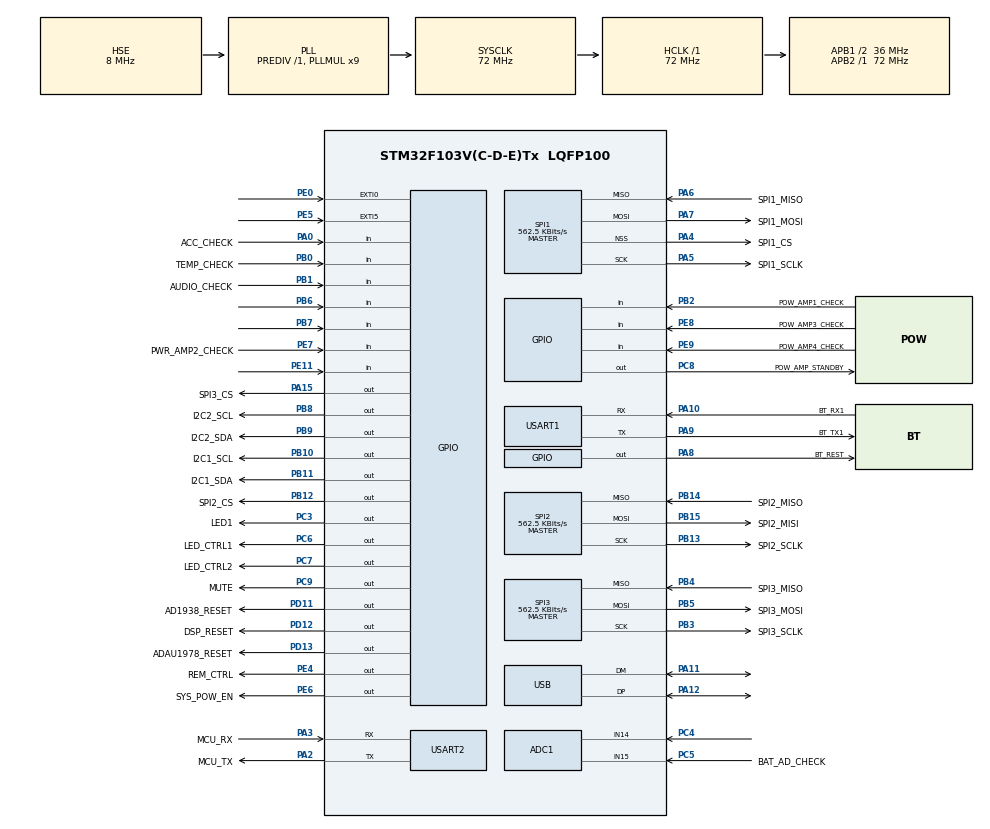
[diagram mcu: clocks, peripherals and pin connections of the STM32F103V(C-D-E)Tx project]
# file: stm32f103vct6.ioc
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ADC1.Channel-2\#ChannelRegularConversion=ADC_CHANNEL_14
ADC1.Channel-5\#ChannelRegularConversion=ADC_CHANNEL_15
ADC1.ContinuousConvMode=ENABLE
ADC1.DataAlign=ADC_DATAALIGN_RIGHT
ADC1.DiscontinuousConvMode=DISABLE
ADC1.EnableInjectedConversion=DISABLE
ADC1.EnableRegularConversion=ENABLE
ADC1.InjNumberOfConversion=2
ADC1.NbrOfConversion=2
ADC1.NbrOfConversionFlag=1
ADC1.Rank-2\#ChannelRegularConversion=1
ADC1.Rank-5\#ChannelRegularConversion=2
ADC1.SamplingTime-2\#ChannelRegularConversion=ADC_SAMPLETIME_55CYCLES_5
ADC1.SamplingTime-5\#ChannelRegularConversion=ADC_SAMPLETIME_55CYCLES_5
ADC1.master=1
Dma.ADC1.0.Direction=DMA_PERIPH_TO_MEMORY
Dma.ADC1.0.Instance=DMA1_Channel1
Dma.ADC1.0.MemDataAlignment=DMA_MDATAALIGN_WORD
Dma.ADC1.0.MemInc=DMA_MINC_ENABLE
Dma.ADC1.0.Mode=DMA_CIRCULAR
Dma.ADC1.0.PeriphDataAlignment=DMA_PDATAALIGN_WORD
Dma.ADC1.0.PeriphInc=DMA_PINC_DISABLE
Dma.ADC1.0.Priority=DMA_PRIORITY_LOW
Dma.Request0=ADC1
FREERTOS.BinarySemaphores01=myBinarySem01,Dynamic,NULL
FREERTOS.Mutexes01=myMutex01,Dynamic,NULL;myMutex02,Dynamic,NULL;myMutex03,Dynamic,NULL;myMutex04,Dynamic,NULL
FREERTOS.Queues01=myQueue01,16,uint16_t,0,Dynamic,NULL,NULL
FREERTOS.Tasks01=defaultTask,24,256,StartDefaultTask,Default,NULL,Dynamic,NULL,NULL;myTask03,26,512,StartTask03,Default,NULL,Dynamic,NULL,NULL;myPrintfTask,24,1024,PrintfTask,Default,NULL,Dynamic,NULL,NULL;myTask_4ms_Pro,24,256,StartTask_4ms_Pro,Default,NULL,Dynamic,NULL,NULL;myTask_8ms_Pro,25,512,StartTask_8ms_Pro,Default,NULL,Dynamic,NULL,NULL;myTask_16ms_Pro,24,512,StartTask_16ms_Pro,Default,NULL,Dynamic,NULL,NULL;myTask_100ms_Pr,27,512,StartTask_100ms_Pro,Default,NULL,Dynamic,NULL,NULL
FREERTOS.configGENERATE_RUN_TIME_STATS=1
FREERTOS.configTOTAL_HEAP_SIZE=17344
FREERTOS.configUSE_STATS_FORMATTING_FUNCTIONS=1
FREERTOS.configUSE_TRACE_FACILITY=1
Mcu.Family=STM32F1
Mcu.Name=STM32F103V(C-D-E)Tx
Mcu.Package=LQFP100
NVIC.ADC1_2_IRQn=true\:5\:0\:true\:false\:true\:true\:true\:true
NVIC.DMA1_Channel1_IRQn=true\:5\:0\:true\:false\:true\:true\:false\:true
NVIC.EXTI9_5_IRQn=true\:5\:0\:true\:false\:true\:true\:true\:true
NVIC.PriorityGroup=NVIC_PRIORITYGROUP_4
NVIC.TIM1_UP_IRQn=true\:0\:0\:false\:false\:true\:false\:false\:true
NVIC.TIM5_IRQn=true\:5\:0\:true\:false\:true\:true\:true\:true
NVIC.TimeBase=TIM1_UP_IRQn
NVIC.TimeBaseIP=TIM1
NVIC.USART1_IRQn=true\:6\:0\:true\:false\:true\:false\:true\:true
NVIC.USART2_IRQn=true\:5\:0\:true\:false\:true\:true\:true\:true
NVIC.USB_HP_CAN1_TX_IRQn=true\:5\:0\:true\:false\:true\:true\:true\:true
NVIC.USB_LP_CAN1_RX0_IRQn=true\:5\:0\:true\:false\:true\:true\:false\:true
OSC_IN.Mode=HSE-External-Oscillator
OSC_IN.Signal=RCC_OSC_IN
OSC_OUT.Mode=HSE-External-Oscillator
OSC_OUT.Signal=RCC_OSC_OUT
PA0-WKUP.GPIO_Label=ACC_CHECK
PA0-WKUP.Signal=GPIO_Input
PA10.GPIO_Label=BT_RX1
PA10.Mode=Asynchronous
PA10.Signal=USART1_RX
PA11.Mode=Device
PA11.Signal=USB_DM
PA12.Mode=Device
PA12.Signal=USB_DP
PA13.Mode=Serial_Wire
PA13.Signal=SYS_JTMS-SWDIO
PA14.Mode=Serial_Wire
PA14.Signal=SYS_JTCK-SWCLK
PA15.GPIO_Label=SPI3_CS
PA15.GPIO_ModeDefaultOutputPP=GPIO_MODE_OUTPUT_PP
PA15.GPIO_PuPd=GPIO_PULLUP
PA15.GPIO_Speed=GPIO_SPEED_FREQ_HIGH
PA15.PinState=GPIO_PIN_SET
PA15.Signal=GPIO_Output
PA2.GPIO_Label=MCU_TX
PA2.Mode=Asynchronous
PA2.Signal=USART2_TX
PA3.GPIO_Label=MCU_RX
PA3.Mode=Asynchronous
PA3.Signal=USART2_RX
PA4.GPIO_Label=SPI1_CS
PA4.Mode=NSS_Signal_Hard_Output
PA4.Signal=SPI1_NSS
PA5.GPIO_Label=SPI1_SCLK
PA5.Mode=Full_Duplex_Master
PA5.Signal=SPI1_SCK
PA6.GPIO_Label=SPI1_MISO
PA6.Mode=Full_Duplex_Master
PA6.Signal=SPI1_MISO
PA7.GPIO_Label=SPI1_MOSI
PA7.Mode=Full_Duplex_Master
PA7.Signal=SPI1_MOSI
PA8.GPIO_Label=BT_REST
PA8.GPIO_PuPd=GPIO_PULLUP
PA8.PinState=GPIO_PIN_RESET
PA8.Signal=GPIO_Output
PA9.GPIO_Label=BT_TX1
PA9.Mode=Asynchronous
PA9.Signal=USART1_TX
PB0.GPIO_Label=TEMP_CHECK
PB0.Signal=GPIO_Input
PB1.GPIO_Label=AUDIO_CHECK
PB1.Signal=GPIO_Input
PB10.GPIO_Label=I2C1_SCL
PB10.GPIO_PuPd=GPIO_PULLUP
PB10.GPIO_Speed=GPIO_SPEED_FREQ_HIGH
PB10.PinState=GPIO_PIN_SET
PB10.Signal=GPIO_Output
PB11.GPIO_Label=I2C1_SDA
PB11.GPIO_PuPd=GPIO_PULLUP
PB11.GPIO_Speed=GPIO_SPEED_FREQ_HIGH
PB11.PinState=GPIO_PIN_SET
PB11.Signal=GPIO_Output
PB12.GPIO_Label=SPI2_CS
PB12.GPIO_PuPd=GPIO_PULLUP
PB12.GPIO_Speed=GPIO_SPEED_FREQ_HIGH
PB12.PinState=GPIO_PIN_SET
PB12.Signal=GPIO_Output
PB13.GPIO_Label=SPI2_SCLK
PB13.Mode=Full_Duplex_Master
PB13.Signal=SPI2_SCK
PB14.GPIO_Label=SPI2_MISO
PB14.Mode=Full_Duplex_Master
PB14.Signal=SPI2_MISO
PB15.GPIO_Label=SPI2_MISI
PB15.Mode=Full_Duplex_Master
PB15.Signal=SPI2_MOSI
PB2.GPIO_Label=POW_AMP1_CHECK
PB2.Signal=GPIO_Input
PB3.GPIO_Label=SPI3_SCLK
PB3.Mode=Full_Duplex_Master
PB3.Signal=SPI3_SCK
PB4.GPIO_Label=SPI3_MISO
PB4.Mode=Full_Duplex_Master
PB4.Signal=SPI3_MISO
PB5.GPIO_Label=SPI3_MOSI
PB5.Mode=Full_Duplex_Master
PB5.Signal=SPI3_MOSI
PB6.Signal=GPIO_Input
PB7.Signal=GPIO_Input
PB8.GPIO_Label=I2C2_SCL
PB8.GPIO_PuPd=GPIO_PULLUP
PB8.GPIO_Speed=GPIO_SPEED_FREQ_HIGH
PB8.PinState=GPIO_PIN_SET
PB8.Signal=GPIO_Output
PB9.GPIO_Label=I2C2_SDA
PB9.GPIO_PuPd=GPIO_PULLUP
PB9.GPIO_Speed=GPIO_SPEED_FREQ_HIGH
PB9.PinState=GPIO_PIN_SET
PB9.Signal=GPIO_Output
PC14-OSC32_IN.Mode=LSE-External-Oscillator
PC14-OSC32_IN.Signal=RCC_OSC32_IN
PC15-OSC32_OUT.Mode=LSE-External-Oscillator
PC15-OSC32_OUT.Signal=RCC_OSC32_OUT
PC3.GPIO_Label=LED1
PC3.GPIO_ModeDefaultOutputPP=GPIO_MODE_OUTPUT_PP
PC3.GPIO_PuPd=GPIO_PULLUP
PC3.GPIO_Speed=GPIO_SPEED_FREQ_HIGH
PC3.Signal=GPIO_Output
PC4.Signal=ADCx_IN14
PC5.GPIO_Label=BAT_AD_CHECK
PC5.Signal=ADCx_IN15
PC6.GPIO_Label=LED_CTRL1
PC6.GPIO_PuPd=GPIO_PULLUP
PC6.PinState=GPIO_PIN_RESET
PC6.Signal=GPIO_Output
PC7.GPIO_Label=LED_CTRL2
PC7.GPIO_PuPd=GPIO_PULLUP
PC7.PinState=GPIO_PIN_RESET
PC7.Signal=GPIO_Output
PC8.GPIO_Label=POW_AMP_STANDBY
PC8.GPIO_PuPd=GPIO_PULLUP
PC8.PinState=GPIO_PIN_RESET
PC8.Signal=GPIO_Output
PC9.GPIO_Label=MUTE
PC9.Signal=GPIO_Output
PD11.GPIO_Label=AD1938_RESET
PD11.PinState=GPIO_PIN_RESET
PD11.Signal=GPIO_Output
PD12.GPIO_Label=DSP_RESET
PD12.GPIO_PuPd=GPIO_PULLUP
PD12.PinState=GPIO_PIN_RESET
PD12.Signal=GPIO_Output
PD13.GPIO_Label=ADAU1978_RESET
PD13.PinState=GPIO_PIN_RESET
PD13.Signal=GPIO_Output
PD8.GPIO_Label=USB_TX
PD8.Signal=USART3_TX
PD9.GPIO_Label=USB_RX
PD9.Signal=USART3_RX
PE0.GPIO_ModeDefaultEXTI=GPIO_MODE_IT_FALLING
PE0.Signal=GPXTI0
PE11.Signal=GPIO_Input
PE4.GPIO_Label=REM_CTRL
PE4.Signal=GPIO_Output
PE5.GPIO_ModeDefaultEXTI=GPIO_MODE_IT_FALLING
PE5.Signal=GPXTI5
PE6.GPIO_Label=SYS_POW_EN
PE6.GPIO_PuPd=GPIO_PULLUP
PE6.GPIO_Speed=GPIO_SPEED_FREQ_MEDIUM
PE6.PinState=GPIO_PIN_RESET
PE6.Signal=GPIO_Output
PE7.GPIO_Label=PWR_AMP2_CHECK
PE7.Signal=GPIO_Input
PE8.GPIO_Label=POW_AMP3_CHECK
PE8.Signal=GPIO_Input
PE9.GPIO_Label=POW_AMP4_CHECK
PE9.Signal=GPIO_Input
ProjectManager.HeapSize=0x200
ProjectManager.StackSize=0x400
ProjectManager.TargetToolchain=MDK-ARM V5
RCC.ADCPresc=RCC_ADCPCLK2_DIV6
RCC.AHBFreq_Value=72000000
RCC.APB1CLKDivider=RCC_HCLK_DIV2
RCC.APB1Freq_Value=36000000
RCC.APB1TimFreq_Value=72000000
RCC.APB2Freq_Value=72000000
RCC.APB2TimFreq_Value=72000000
RCC.HCLKFreq_Value=72000000
RCC.PLLMUL=RCC_PLL_MUL9
RCC.PLLSourceVirtual=RCC_PLLSOURCE_HSE
RCC.SYSCLKFreq_VALUE=72000000
RCC.SYSCLKSource=RCC_SYSCLKSOURCE_PLLCLK
RCC.USBFreq_Value=48000000
RCC.USBPrescaler=RCC_USBCLKSOURCE_PLL_DIV1_5
SH.ADCx_IN14.0=ADC1_IN14,IN14
SH.ADCx_IN15.0=ADC1_IN15,IN15
SPI1.BaudRatePrescaler=SPI_BAUDRATEPRESCALER_128
SPI1.CLKPhase=SPI_PHASE_2EDGE
SPI1.CLKPolarity=SPI_POLARITY_HIGH
SPI1.CRCCalculation=SPI_CRCCALCULATION_DISABLE
SPI1.CalculateBaudRate=562.5 KBits/s
SPI1.DataSize=SPI_DATASIZE_8BIT
SPI1.Direction=SPI_DIRECTION_2LINES
SPI1.Mode=SPI_MODE_MASTER
SPI1.VirtualNSS=VM_NSSHARD
SPI1.VirtualType=VM_MASTER
SPI2.BaudRatePrescaler=SPI_BAUDRATEPRESCALER_64
SPI2.CalculateBaudRate=562.5 KBits/s
SPI2.Direction=SPI_DIRECTION_2LINES
SPI2.Mode=SPI_MODE_MASTER
SPI2.VirtualType=VM_MASTER
SPI3.BaudRatePrescaler=SPI_BAUDRATEPRESCALER_64
SPI3.CalculateBaudRate=562.5 KBits/s
SPI3.Direction=SPI_DIRECTION_2LINES
SPI3.Mode=SPI_MODE_MASTER
SPI3.VirtualType=VM_MASTER
TIM5.Period=0xe00
USART1.VirtualMode=VM_ASYNC
USART2.VirtualMode=VM_ASYNC
USB.low_power_enable=DISABLE
USB.lpm_enable=DISABLE
USB_DEVICE.CLASS_NAME_FS=CUSTOM_HID
USB_DEVICE.CUSTOM_HID_FS_BINTERVAL=0x20
USB_DEVICE.PID_CUSTOMHID_FS=0x5750
USB_DEVICE.USBD_CUSTOMHID_OUTREPORT_BUF_SIZE=0x20
USB_DEVICE.USBD_CUSTOM_HID_REPORT_DESC_SIZE=0x22
USB_DEVICE.USBD_MAX_NUM_INTERFACES=0x40
USB_DEVICE.VID=0x483
USB_DEVICE.VirtualMode=CustomHid
USB_DEVICE.VirtualModeFS=Custom_Hid_FS
VP_FREERTOS_VS_CMSIS_V2.Mode=CMSIS_V2
VP_RTC_No_RTC_Output.Mode=RTC_OUT_NO
VP_RTC_VS_RTC_Activate.Mode=RTC_Enabled
VP_RTC_VS_RTC_Calendar.Mode=RTC_Calendar
VP_SYS_VS_tim1.Mode=TIM1
VP_TIM5_VS_ClockSourceINT.Mode=Internal
VP_USB_DEVICE_VS_USB_DEVICE_CUSTOM_HID_FS.Mode=CUSTOM_HID_FS
board=custom

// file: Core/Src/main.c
/* USER CODE BEGIN Header */
/**
  ******************************************************************************
  * @file           : main.c
  * @brief          : Main program body
  ******************************************************************************
  * @attention
  *
  * <h2><center>&copy; Copyright (c) 2020 STMicroelectronics.
  * All rights reserved.</center></h2>
  *
  * This software component is licensed by ST under BSD 3-Clause license,
  * the "License"; You may not use this file except in compliance with the
  * License. You may obtain a copy of the License at:
  *                        opensource.org/licenses/BSD-3-Clause
  *
  ******************************************************************************
  */
/* USER CODE END Header */
#include "main.h"
#include "cmsis_os.h"
#include "adc.h"
#include "dma.h"
#include "rtc.h"
#include "spi.h"
#include "tim.h"
#include "usart.h"
#include "usb_device.h"
#include "gpio.h"

/* USER CODE BEGIN Includes */
#include "include.h"
#include "FreeRTOS.h"
#include "task.h"
/* USER CODE END Includes */

void SystemClock_Config(void);
void MX_FREERTOS_Init(void);

/* USER CODE BEGIN 0 */
unsigned char USB_Rx_Buf[USBD_CUSTOMHID_OUTREPORT_BUF_SIZE]; //USB接收缓存

unsigned char USB_Received_Count = 0;//USB接收数据计数
unsigned int AD_DMA[2];
uint8_t rUARTDataBuffer[1];

void SysHardware_Init(void)
{
	//Bsp_Clock_Init();
	//Bsp_SysTick_Init();
	//Bsp_GPIO_Init();
	//Bsp_WDOG_Init();
	//Bsp_UART_Init();
	//Bsp_SPI_Init();
	//Bsp_ADC_Init();
	//Bsp_FLASH_Init();
	//Print_Init();
}
void SysSoftware_Init(void)
{
	SysDataInit();
	DspInit();
	Check_Uart();
}

/* USER CODE END 0 */

int main(void)
{

  /* MCU Configuration--------------------------------------------------------*/

  /* Reset of all peripherals, Initializes the Flash interface and the Systick. */
  HAL_Init();

  /* USER CODE BEGIN Init */
  //SysHardware_Init();
  SysSoftware_Init();

  /* USER CODE END Init */

  /* Configure the system clock */
  SystemClock_Config();

  /* Initialize all configured peripherals */
  MX_GPIO_Init();
  MX_SPI1_Init();
  MX_SPI2_Init();
  MX_SPI3_Init();
  MX_USART1_UART_Init();
  MX_TIM5_Init();
  MX_ADC1_Init();
  MX_USART2_UART_Init();
  MX_RTC_Init();
  /* USER CODE BEGIN 2 */
  HAL_ADCEx_Calibration_Start(&hadc1);
  HAL_ADC_Start_DMA(&hadc1, (uint32_t*)&AD_DMA,2); //启用DMA的ADC转换，AD_DMA 0~3 对应ADC 0~3，这里注意最后一个参数的大小

  HAL_TIM_Base_Start_IT(&htim5);
  HAL_GPIO_WritePin(GPIOA,GPIO_PIN_4,GPIO_PIN_SET);

	//上面的usart配置代码为cubemx自动生成的，在下方添加使能idle中断和打开串口DMA接收语句
  //__HAL_UART_ENABLE_IT(&huart2, UART_IT_IDLE);//使能idle中断
  //HAL_UART_Receive_DMA(&huart2,rx_buffer,BUFFER_SIZE);//打开DMA接收，数据存入rx_buffer数组中。
	while(HAL_UART_Receive_IT(&huart1, rUARTDataBuffer, 1) != HAL_OK);

  /*##-1- Configure Alarm ####################################################*/
  /* Configure RTC Alarm */
  Set_RtcWorkStatus;
  SysWakeUp_SetAlarm(10);

  printf("APP Begin -- Software Version : %s \n", MCU_VERSION);
  printf("Code generation time : %s %s \n", __DATE__, __TIME__);
  //SPI_FLASH_ReadDeviceID();

  /* USER CODE END 2 */

  /* Init scheduler */
  osKernelInitialize();  /* Call init function for freertos objects (in freertos.c) */
  MX_FREERTOS_Init();
  /* Start scheduler */
  osKernelStart();

  /* We should never get here as control is now taken by the scheduler */
  /* Infinite loop */
  while (1)
  {

  }
}

void SystemClock_Config(void)
{
  RCC_OscInitTypeDef RCC_OscInitStruct = {0};
  RCC_ClkInitTypeDef RCC_ClkInitStruct = {0};
  RCC_PeriphCLKInitTypeDef PeriphClkInit = {0};

  /** Initializes the RCC Oscillators according to the specified parameters
  * in the RCC_OscInitTypeDef structure.
  */
  RCC_OscInitStruct.OscillatorType = RCC_OSCILLATORTYPE_LSI|RCC_OSCILLATORTYPE_HSE;
  RCC_OscInitStruct.HSEState = RCC_HSE_ON;
  RCC_OscInitStruct.HSEPredivValue = RCC_HSE_PREDIV_DIV1;
  RCC_OscInitStruct.HSIState = RCC_HSI_ON;
  RCC_OscInitStruct.LSIState = RCC_LSI_ON;
  RCC_OscInitStruct.PLL.PLLState = RCC_PLL_ON;
  RCC_OscInitStruct.PLL.PLLSource = RCC_PLLSOURCE_HSE;
  RCC_OscInitStruct.PLL.PLLMUL = RCC_PLL_MUL9;
  if (HAL_RCC_OscConfig(&RCC_OscInitStruct) != HAL_OK)
  {
    Error_Handler();
  }
  /** Initializes the CPU, AHB and APB buses clocks
  */
  RCC_ClkInitStruct.ClockType = RCC_CLOCKTYPE_HCLK|RCC_CLOCKTYPE_SYSCLK
                              |RCC_CLOCKTYPE_PCLK1|RCC_CLOCKTYPE_PCLK2;
  RCC_ClkInitStruct.SYSCLKSource = RCC_SYSCLKSOURCE_PLLCLK;
  RCC_ClkInitStruct.AHBCLKDivider = RCC_SYSCLK_DIV1;
  RCC_ClkInitStruct.APB1CLKDivider = RCC_HCLK_DIV2;
  RCC_ClkInitStruct.APB2CLKDivider = RCC_HCLK_DIV1;

  if (HAL_RCC_ClockConfig(&RCC_ClkInitStruct, FLASH_LATENCY_2) != HAL_OK)
  {
    Error_Handler();
  }
  PeriphClkInit.PeriphClockSelection = RCC_PERIPHCLK_RTC|RCC_PERIPHCLK_ADC
                              |RCC_PERIPHCLK_USB;
  PeriphClkInit.RTCClockSelection = RCC_RTCCLKSOURCE_LSI;
  PeriphClkInit.AdcClockSelection = RCC_ADCPCLK2_DIV6;
  PeriphClkInit.UsbClockSelection = RCC_USBCLKSOURCE_PLL_DIV1_5;
  if (HAL_RCCEx_PeriphCLKConfig(&PeriphClkInit) != HAL_OK)
  {
    Error_Handler();
  }
}

/* USER CODE BEGIN 4 */

/**
  * @brief  Alarm callback
  * @param  hrtc : RTC handle
  * @retval None
  */

 void HAL_RTC_AlarmAEventCallback(RTC_HandleTypeDef *hrtc)
{
    rtc_alarm_flag++;
	Set_RtcWorkStatus;
	 __HAL_RTC_ALARM_CLEAR_FLAG(hrtc, RTC_FLAG_ALRAF);
}

/**
  * @brief  UART callback
  * @param  hrtc : RTC handle
  * @retval None
  */
 void HAL_UART_RxCpltCallback(UART_HandleTypeDef *huart)
{
  uint32_t ulReturn;

  /* Prevent unused argument(s) compilation warning */
  UNUSED(huart);
  /* NOTE: This function should not be modified, when the callback is needed,
           the HAL_UART_RxCpltCallback could be implemented in the user file
   */
  /* 进入临界段，临界段可以嵌套 */
  	//if(recv_end_flag)
  	//{
  		//recv_end_flag = 0;
		//App_Printf("\r\n :%x",rUARTDataBuffer[0]);
  	//}
  if(huart == &huart1)
  {
	  Uart_Rx_DataPro(SCH_Uart1, rUARTDataBuffer[0]);
	  Change_Uart(SCH_Uart1);
  }
  else if(huart == &huart2)
  {
	  Uart_Rx_DataPro(SCH_Uart2, rUARTDataBuffer[0]);
  }

  while(HAL_UART_Receive_IT(huart, rUARTDataBuffer, 1) != HAL_OK); // Wait completly receive 1 byte data, and put data in rUARTDataBuffer

}

/* USER CODE END 4 */

void HAL_TIM_PeriodElapsedCallback(TIM_HandleTypeDef *htim)
{
  if (htim->Instance == TIM1) {
    HAL_IncTick();
  }
}

void Error_Handler(void)
{
}

/************************ (C) COPYRIGHT STMicroelectronics *****END OF FILE****/

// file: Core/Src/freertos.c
/* USER CODE BEGIN Header */
/**
  ******************************************************************************
  * File Name          : freertos.c
  * Description        : Code for freertos applications
  ******************************************************************************
  * @attention
  *
  * <h2><center>&copy; Copyright (c) 2020 STMicroelectronics.
  * All rights reserved.</center></h2>
  *
  * This software component is licensed by ST under Ultimate Liberty license
  * SLA0044, the "License"; You may not use this file except in compliance with
  * the License. You may obtain a copy of the License at:
  *                             www.st.com/SLA0044
  *
  ******************************************************************************
  */
/* USER CODE END Header */

#include "FreeRTOS.h"
#include "task.h"
#include "main.h"
#include "cmsis_os.h"

/* USER CODE BEGIN Includes */
#include "include.h"
#include "spi.h"
#include "usbd_customhid.h" //
#include "adc.h"
#include "stm32f1xx_hal_rtc.h"
#include "semphr.h"

/* USER CODE END Includes */

/* USER CODE BEGIN Variables */
volatile unsigned long ulHighFrequencyTimerTicks;
volatile unsigned long ulHighFrequencyTimerTicks1;

uint8_t Data1[4]={0x9f,0xff,0xff,0xff};
uint8_t Data2[2]={0x00,0x00};
uint8_t Rxdata[2];

/* USER CODE END Variables */
/* Definitions for defaultTask */
osThreadId_t defaultTaskHandle;
const osThreadAttr_t defaultTask_attributes = {
  .name = "defaultTask",
  .priority = (osPriority_t) osPriorityNormal,
  .stack_size = 256 * 4
};
/* Definitions for myTask03 */
osThreadId_t myTask03Handle;
const osThreadAttr_t myTask03_attributes = {
  .name = "myTask03",
  .priority = (osPriority_t) osPriorityNormal2,
  .stack_size = 512 * 4
};
/* Definitions for myPrintfTask */
osThreadId_t myPrintfTaskHandle;
const osThreadAttr_t myPrintfTask_attributes = {
  .name = "myPrintfTask",
  .priority = (osPriority_t) osPriorityNormal,
  .stack_size = 1024 * 4
};
/* Definitions for myTask_4ms_Pro */
osThreadId_t myTask_4ms_ProHandle;
const osThreadAttr_t myTask_4ms_Pro_attributes = {
  .name = "myTask_4ms_Pro",
  .priority = (osPriority_t) osPriorityNormal,
  .stack_size = 256 * 4
};
/* Definitions for myTask_8ms_Pro */
osThreadId_t myTask_8ms_ProHandle;
const osThreadAttr_t myTask_8ms_Pro_attributes = {
  .name = "myTask_8ms_Pro",
  .priority = (osPriority_t) osPriorityNormal1,
  .stack_size = 512 * 4
};
/* Definitions for myTask_16ms_Pro */
osThreadId_t myTask_16ms_ProHandle;
const osThreadAttr_t myTask_16ms_Pro_attributes = {
  .name = "myTask_16ms_Pro",
  .priority = (osPriority_t) osPriorityNormal,
  .stack_size = 512 * 4
};
/* Definitions for myTask_100ms_Pr */
osThreadId_t myTask_100ms_PrHandle;
const osThreadAttr_t myTask_100ms_Pr_attributes = {
  .name = "myTask_100ms_Pr",
  .priority = (osPriority_t) osPriorityNormal3,
  .stack_size = 512 * 4
};
/* Definitions for myQueue01 */
osMessageQueueId_t myQueue01Handle;
const osMessageQueueAttr_t myQueue01_attributes = {
  .name = "myQueue01"
};
/* Definitions for myMutex01 */
osMutexId_t myMutex01Handle;
const osMutexAttr_t myMutex01_attributes = {
  .name = "myMutex01"
};
/* Definitions for myMutex02 */
osMutexId_t myMutex02Handle;
const osMutexAttr_t myMutex02_attributes = {
  .name = "myMutex02"
};
/* Definitions for myMutex03 */
osMutexId_t myMutex03Handle;
const osMutexAttr_t myMutex03_attributes = {
  .name = "myMutex03"
};
/* Definitions for myMutex04 */
osMutexId_t myMutex04Handle;
const osMutexAttr_t myMutex04_attributes = {
  .name = "myMutex04"
};
/* Definitions for myBinarySem01 */
osSemaphoreId_t myBinarySem01Handle;
const osSemaphoreAttr_t myBinarySem01_attributes = {
  .name = "myBinarySem01"
};

void StartDefaultTask(void *argument);
void StartTask03(void *argument);
void PrintfTask(void *argument);
void StartTask_4ms_Pro(void *argument);
void StartTask_8ms_Pro(void *argument);
void StartTask_16ms_Pro(void *argument);
void StartTask_100ms_Pro(void *argument);

extern void MX_USB_DEVICE_Init(void);
void MX_FREERTOS_Init(void); /* (MISRA C 2004 rule 8.1) */

/* Hook prototypes */
void configureTimerForRunTimeStats(void);
unsigned long getRunTimeCounterValue(void);

/* USER CODE BEGIN 1 */
/* Functions needed when configGENERATE_RUN_TIME_STATS is on */
__weak void configureTimerForRunTimeStats(void)
{
	ulHighFrequencyTimerTicks = 0ul;
}

__weak unsigned long getRunTimeCounterValue(void)
{
return ulHighFrequencyTimerTicks;
}

/*
*********************************************************************************************************
*	函 数 名: AppObjCreate
*	功能说明: 创建任务通信机制
*	形    参: 无
*	返 回 值: 无
*********************************************************************************************************
*/

static void AppObjCreate (void)
{
	/* 创建互斥信号量 */
    xMutex = xSemaphoreCreateMutex();

	if(xMutex == NULL)
    {
        /* 没有创建成功，用户可以在这里加入创建失败的处理机制 */
    }
}

/* USER CODE END 1 */

void MX_FREERTOS_Init(void) {
  /* Create the mutex(es) */
  /* creation of myMutex01 */
  myMutex01Handle = osMutexNew(&myMutex01_attributes);

  /* creation of myMutex02 */
  myMutex02Handle = osMutexNew(&myMutex02_attributes);

  /* creation of myMutex03 */
  myMutex03Handle = osMutexNew(&myMutex03_attributes);

  /* creation of myMutex04 */
  myMutex04Handle = osMutexNew(&myMutex04_attributes);

  /* USER CODE BEGIN RTOS_MUTEX */
  /* add mutexes, ... */

  /* 创建任务通信机制 */
  AppObjCreate();
  /* USER CODE END RTOS_MUTEX */

  /* Create the semaphores(s) */
  /* creation of myBinarySem01 */
  myBinarySem01Handle = osSemaphoreNew(1, 1, &myBinarySem01_attributes);

  /* Create the queue(s) */
  /* creation of myQueue01 */
  myQueue01Handle = osMessageQueueNew (16, sizeof(uint16_t), &myQueue01_attributes);

  /* Create the thread(s) */
  /* creation of defaultTask */
  defaultTaskHandle = osThreadNew(StartDefaultTask, NULL, &defaultTask_attributes);

  /* creation of myTask03 */
  myTask03Handle = osThreadNew(StartTask03, NULL, &myTask03_attributes);

  /* creation of myPrintfTask */
  myPrintfTaskHandle = osThreadNew(PrintfTask, NULL, &myPrintfTask_attributes);

  /* creation of myTask_4ms_Pro */
  myTask_4ms_ProHandle = osThreadNew(StartTask_4ms_Pro, NULL, &myTask_4ms_Pro_attributes);

  /* creation of myTask_8ms_Pro */
  myTask_8ms_ProHandle = osThreadNew(StartTask_8ms_Pro, NULL, &myTask_8ms_Pro_attributes);

  /* creation of myTask_16ms_Pro */
  myTask_16ms_ProHandle = osThreadNew(StartTask_16ms_Pro, NULL, &myTask_16ms_Pro_attributes);

  /* creation of myTask_100ms_Pr */
  myTask_100ms_PrHandle = osThreadNew(StartTask_100ms_Pro, NULL, &myTask_100ms_Pr_attributes);

}

void StartDefaultTask(void *argument)
{
  /* init code for USB_DEVICE */
  MX_USB_DEVICE_Init();
  /* USER CODE BEGIN StartDefaultTask */
  /* Infinite loop */
  for(;;)
  {
	//printf("TaskDefault -- Software Version : %s \r\n", MCU_VERSION);
	//SPI_FLASH_ReadDeviceID();

	//App_Printf("LED on: %s \r\n", 1);
    //vTaskDelay(500);
	HAL_GPIO_WritePin(LED1_GPIO_Port, LED1_Pin, GPIO_PIN_RESET);
	//HAL_GPIO_WritePin(LED_CTRL2_GPIO_Port, LED_CTRL2_Pin, GPIO_PIN_SET);
    //vTaskDelay(500);
	//xLastWakeTime = xTaskGetTickCountFromISR();
	//vTaskDelayUntil(&xLastWakeTime,10);
	//SysWaitUs(100);

	SysWaitMs(500);
	HAL_GPIO_WritePin(LED1_GPIO_Port, LED1_Pin, GPIO_PIN_SET);
    //vTaskDelay(10);
	//xLastWakeTime = xTaskGetTickCountFromISR();
	//vTaskDelayUntil(&xLastWakeTime,10);
	//SysWaitUs(100);
	SysWaitMs(500);
	HAL_GPIO_WritePin(LED1_GPIO_Port, LED1_Pin, GPIO_PIN_RESET);
    //vTaskDelay(10);
	//xLastWakeTime = xTaskGetTickCountFromISR();
	//vTaskDelayUntil(&xLastWakeTime,10);
	//SysWaitUs(100);

	SysWaitMs(500);
	HAL_GPIO_WritePin(LED1_GPIO_Port, LED1_Pin, GPIO_PIN_SET);
    vTaskDelay(500);
    //osDelay(1);
  }
  /* USER CODE END StartDefaultTask */
}

/* USER CODE BEGIN Header_StartTask03 */
//RTC_AlarmTypeDef salarmstructure;
//RTC_TimeTypeDef stime;

/**
* @brief Function implementing the myTask03 thread.
* @param argument: Not used
* @retval None
*/
/* USER CODE END Header_StartTask03 */
void StartTask03(void *argument)
{
  /* USER CODE BEGIN StartTask03 */

  /* Infinite loop */
  for(;;)
  {

  		//taskENTER_CRITICAL();
  		BT_DataRxPro(Uart_CONNECT,	 &BtRxModuel);
  		BT_DataRxPro(Uart_OTHER,&PcRxModuel_0);
  		BT_DataRxPro(Uart_OTHER1,&PcRxModuel_1);

  		//taskEXIT_CRITICAL();
	 	 //vTaskDelay(500);
		// printf("Task3 -- Software Version : %s \r\n", MCU_VERSION);
		/* Call HAL_RTC_GetTime function to update date if counter higher than 24 hours */
		//if (HAL_RTC_GetTime(&hrtc, &stimestructure, RTC_FORMAT_BIN) != HAL_OK)
		//{
		//	printf("rx_time err=%d,%d,%d\r\n",stimestructure.Hours,stimestructure.Minutes,stimestructure.Seconds);//锟斤拷印锟斤拷锟秸筹拷锟斤拷
		//	return ;
		//}
		//printf("rx_time=%d,%d,%d,%d\r\n",stimestructure.Hours,stimestructure.Minutes,stimestructure.Seconds,rtc_alarm_flag);//锟斤拷印锟斤拷锟秸筹拷锟斤拷

	  osDelay(1);
  }
  /* USER CODE END StartTask03 */
}

void PrintfTask(void *argument)
{
  /* USER CODE BEGIN PrintfTask */
	uint8_t pcWriteBuffer[500];

/* Infinite loop */
  for(;;)
  {

#if 0
	taskENTER_CRITICAL();
  	App_Printf("PrintfTask -- Software Version : %s \r\n", MCU_VERSION);
	App_Printf("=================================================\r\n");
	App_Printf("任务名	    任务状态 优先级   剩余栈 任务序号\r\n");
	vTaskList((char *)&pcWriteBuffer);
	App_Printf("%s\r\n", pcWriteBuffer);

	App_Printf("\r\n任务名		 运行计数		  使用率\r\n");
	vTaskGetRunTimeStats((char *)&pcWriteBuffer);
	App_Printf("%s\r\n", pcWriteBuffer);
	taskEXIT_CRITICAL();

#endif
    osDelay(500);
  }
  /* USER CODE END PrintfTask */
}

void StartTask_4ms_Pro(void *argument)
{
  /* USER CODE BEGIN StartTask_4ms_Pro */
  /* Infinite loop */
  for(;;)
  {

	//if(F_4ms_Val)
	{
		//App_Printf("Task_4ms_Pro -- Software Version : %s \r\n", MCU_VERSION);
		//F_4ms_Clr;
  		Task_4ms_Pro();
	}
    osDelay(4);
  }
  /* USER CODE END StartTask_4ms_Pro */
}

void StartTask_8ms_Pro(void *argument)
{
  /* USER CODE BEGIN StartTask_8ms_Pro */
  /* Infinite loop */
  for(;;)
  {
	//if(F_8ms_Val)
	{
		//App_Printf("Task_8ms_Pro -- Software Version : %s \r\n", MCU_VERSION);
		//F_8ms_Clr;
	  	Task_8ms_Pro();
	}
    osDelay(8);
  }
  /* USER CODE END StartTask_8ms_Pro */
}

void StartTask_16ms_Pro(void *argument)
{
  /* USER CODE BEGIN StartTask_16ms_Pro */
  /* Infinite loop */
  for(;;)
  {
		static U8 F_FLAG;
	//if(F_16ms_Val)
	{
		//App_Printf("Task_16ms_Pro -- Software Version : %s \r\n", MCU_VERSION);
		//F_16ms_Clr;
		Task_16ms_Pro();
		//if(F_FLAG)
		{
			//	F_FLAG = 0;
			//HAL_GPIO_WritePin(LED1_GPIO_Port, LED_CTRL1_Pin, GPIO_PIN_RESET);
		}
		//else
		{
			//	F_FLAG = 1;
			//HAL_GPIO_WritePin(LED1_GPIO_Port, LED_CTRL1_Pin, GPIO_PIN_SET);
		}
	}
    osDelay(16);
  }
  /* USER CODE END StartTask_16ms_Pro */
}

void StartTask_100ms_Pro(void *argument)
{
  /* USER CODE BEGIN StartTask_100ms_Pro */
  /* Infinite loop */
  for(;;)
  {
	//if(F_100ms_Val)
	{
		//App_Printf("Task_100ms_Pro -- Software Version : %s \r\n", MCU_VERSION);
		//F_100ms_Clr;
		Task_100ms_Pro();
	}
    osDelay(100);
  }
  /* USER CODE END StartTask_100ms_Pro */
}

/************************ (C) COPYRIGHT STMicroelectronics *****END OF FILE****/
